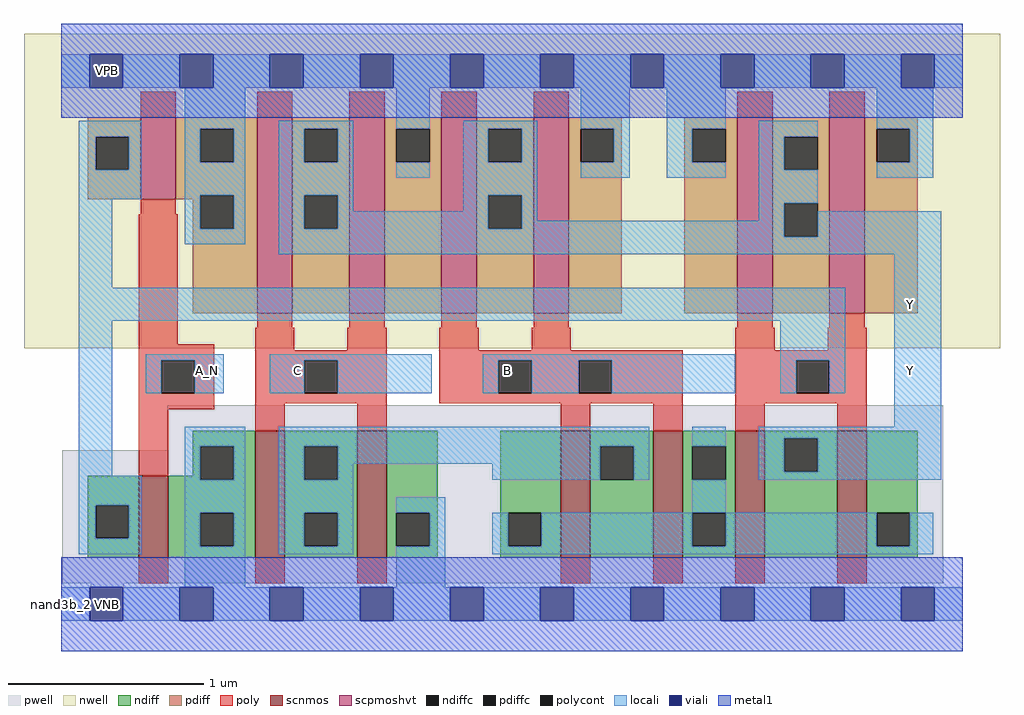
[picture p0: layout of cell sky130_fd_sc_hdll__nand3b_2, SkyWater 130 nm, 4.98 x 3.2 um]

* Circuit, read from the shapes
.subckt sky130_fd_sc_hdll__nand3b_2 A_N B C VGND VNB VPB VPWR Y
XM1 VGND A_N n1 VNB sky130_fd_pr__nfet_01v8 w=0.42 l=0.15
XM2 n2 C VGND VNB sky130_fd_pr__nfet_01v8 w=0.65 l=0.15 m=2
XM3 n2 B n3 VNB sky130_fd_pr__nfet_01v8 w=0.65 l=0.15 m=2
XM4 Y n1 n3 VNB sky130_fd_pr__nfet_01v8 w=0.65 l=0.15 m=2
XM5 VPWR A_N n1 VPB sky130_fd_pr__pfet_01v8_hvt w=0.42 l=0.18
XM6 Y C VPWR VPB sky130_fd_pr__pfet_01v8_hvt w=1 l=0.18 m=2
XM7 Y B VPWR VPB sky130_fd_pr__pfet_01v8_hvt w=1 l=0.18 m=2
XM8 Y n1 VPWR VPB sky130_fd_pr__pfet_01v8_hvt w=1 l=0.18 m=2
.ends

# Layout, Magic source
magic
tech sky130A
magscale 1 2
<< nwell >>
rect -38 261 958 582
<< pwell >>
rect 108 157 900 203
rect 1 21 900 157
rect 30 -17 64 21
<< scnmos >>
rect 79 47 109 131
rect 198 47 228 177
rect 302 47 332 177
rect 510 47 540 177
rect 604 47 634 177
rect 688 47 718 177
rect 792 47 822 177
<< scpmoshvt >>
rect 81 413 117 497
rect 200 297 236 497
rect 294 297 330 497
rect 388 297 424 497
rect 482 297 518 497
rect 690 297 726 497
rect 784 297 820 497
<< ndiff >>
rect 134 161 198 177
rect 134 131 142 161
rect 27 101 79 131
rect 27 67 35 101
rect 69 67 79 101
rect 27 47 79 67
rect 109 127 142 131
rect 176 127 198 161
rect 109 93 198 127
rect 109 59 142 93
rect 176 59 198 93
rect 109 47 198 59
rect 228 161 302 177
rect 228 127 248 161
rect 282 127 302 161
rect 228 93 302 127
rect 228 59 248 93
rect 282 59 302 93
rect 228 47 302 59
rect 332 93 384 177
rect 332 59 342 93
rect 376 59 384 93
rect 332 47 384 59
rect 448 93 510 177
rect 448 59 456 93
rect 490 59 510 93
rect 448 47 510 59
rect 540 161 604 177
rect 540 127 550 161
rect 584 127 604 161
rect 540 47 604 127
rect 634 161 688 177
rect 634 127 644 161
rect 678 127 688 161
rect 634 93 688 127
rect 634 59 644 93
rect 678 59 688 93
rect 634 47 688 59
rect 718 169 792 177
rect 718 135 738 169
rect 772 135 792 169
rect 718 47 792 135
rect 822 93 874 177
rect 822 59 832 93
rect 866 59 874 93
rect 822 47 874 59
<< pdiff >>
rect 27 477 81 497
rect 27 443 35 477
rect 69 443 81 477
rect 27 413 81 443
rect 117 485 200 497
rect 117 451 142 485
rect 176 451 200 485
rect 117 417 200 451
rect 117 413 142 417
rect 134 383 142 413
rect 176 383 200 417
rect 134 297 200 383
rect 236 485 294 497
rect 236 451 248 485
rect 282 451 294 485
rect 236 417 294 451
rect 236 383 248 417
rect 282 383 294 417
rect 236 297 294 383
rect 330 485 388 497
rect 330 451 342 485
rect 376 451 388 485
rect 330 297 388 451
rect 424 485 482 497
rect 424 451 436 485
rect 470 451 482 485
rect 424 417 482 451
rect 424 383 436 417
rect 470 383 482 417
rect 424 297 482 383
rect 518 485 572 497
rect 518 451 530 485
rect 564 451 572 485
rect 518 297 572 451
rect 636 485 690 497
rect 636 451 644 485
rect 678 451 690 485
rect 636 297 690 451
rect 726 477 784 497
rect 726 443 738 477
rect 772 443 784 477
rect 726 409 784 443
rect 726 375 738 409
rect 772 375 784 409
rect 726 297 784 375
rect 820 485 874 497
rect 820 451 832 485
rect 866 451 874 485
rect 820 297 874 451
<< ndiffc >>
rect 35 67 69 101
rect 142 127 176 161
rect 142 59 176 93
rect 248 127 282 161
rect 248 59 282 93
rect 342 59 376 93
rect 456 59 490 93
rect 550 127 584 161
rect 644 127 678 161
rect 644 59 678 93
rect 738 135 772 169
rect 832 59 866 93
<< pdiffc >>
rect 35 443 69 477
rect 142 451 176 485
rect 142 383 176 417
rect 248 451 282 485
rect 248 383 282 417
rect 342 451 376 485
rect 436 451 470 485
rect 436 383 470 417
rect 530 451 564 485
rect 644 451 678 485
rect 738 443 772 477
rect 738 375 772 409
rect 832 451 866 485
<< poly >>
rect 81 497 117 523
rect 200 497 236 523
rect 294 497 330 523
rect 388 497 424 523
rect 482 497 518 523
rect 690 497 726 523
rect 784 497 820 523
rect 81 398 117 413
rect 79 265 119 398
rect 200 282 236 297
rect 294 282 330 297
rect 388 282 424 297
rect 482 282 518 297
rect 690 282 726 297
rect 784 282 820 297
rect 79 249 156 265
rect 79 215 102 249
rect 136 215 156 249
rect 79 199 156 215
rect 198 259 238 282
rect 292 259 332 282
rect 198 249 332 259
rect 198 215 248 249
rect 282 215 332 249
rect 198 205 332 215
rect 386 259 426 282
rect 480 259 520 282
rect 688 259 728 282
rect 782 259 822 282
rect 386 249 634 259
rect 386 215 446 249
rect 480 215 528 249
rect 562 215 634 249
rect 386 205 634 215
rect 79 131 109 199
rect 198 177 228 205
rect 302 177 332 205
rect 510 177 540 205
rect 604 177 634 205
rect 688 249 822 259
rect 688 215 750 249
rect 784 215 822 249
rect 688 205 822 215
rect 688 177 718 205
rect 792 177 822 205
rect 79 21 109 47
rect 198 21 228 47
rect 302 21 332 47
rect 510 21 540 47
rect 604 21 634 47
rect 688 21 718 47
rect 792 21 822 47
<< polycont >>
rect 102 215 136 249
rect 248 215 282 249
rect 446 215 480 249
rect 528 215 562 249
rect 750 215 784 249
<< locali >>
rect 0 527 29 561
rect 63 527 121 561
rect 155 527 213 561
rect 247 527 305 561
rect 339 527 397 561
rect 431 527 489 561
rect 523 527 581 561
rect 615 527 673 561
rect 707 527 765 561
rect 799 527 857 561
rect 891 527 920 561
rect 18 477 82 493
rect 18 443 35 477
rect 69 443 82 477
rect 18 413 82 443
rect 126 485 188 527
rect 126 451 142 485
rect 176 451 188 485
rect 126 417 188 451
rect 18 323 52 413
rect 126 383 142 417
rect 176 383 188 417
rect 126 367 188 383
rect 222 485 298 493
rect 222 451 248 485
rect 282 451 298 485
rect 222 417 298 451
rect 342 485 376 527
rect 342 435 376 451
rect 410 485 486 493
rect 410 451 436 485
rect 470 451 486 485
rect 222 383 248 417
rect 282 401 298 417
rect 410 417 486 451
rect 530 485 580 527
rect 564 451 580 485
rect 530 435 580 451
rect 618 485 678 527
rect 618 451 644 485
rect 618 435 678 451
rect 712 477 772 493
rect 712 443 738 477
rect 410 401 436 417
rect 282 383 436 401
rect 470 391 486 417
rect 712 409 772 443
rect 832 485 890 527
rect 866 451 890 485
rect 832 435 890 451
rect 712 391 738 409
rect 470 383 738 391
rect 222 375 738 383
rect 772 375 898 401
rect 222 357 898 375
rect 18 289 800 323
rect 18 131 52 289
rect 86 249 166 255
rect 86 215 102 249
rect 136 215 166 249
rect 213 249 378 255
rect 213 215 248 249
rect 282 215 378 249
rect 430 249 688 255
rect 430 215 446 249
rect 480 215 528 249
rect 562 215 688 249
rect 734 249 800 289
rect 734 215 750 249
rect 784 215 800 249
rect 850 181 898 357
rect 126 161 188 181
rect 18 101 82 131
rect 18 67 35 101
rect 69 67 82 101
rect 18 51 82 67
rect 126 127 142 161
rect 176 127 188 161
rect 126 93 188 127
rect 126 59 142 93
rect 176 59 188 93
rect 126 17 188 59
rect 222 161 600 181
rect 222 127 248 161
rect 282 143 550 161
rect 282 127 298 143
rect 440 127 550 143
rect 584 127 600 161
rect 644 161 678 181
rect 712 169 898 181
rect 712 135 738 169
rect 772 135 898 169
rect 712 127 898 135
rect 222 93 298 127
rect 222 59 248 93
rect 282 59 298 93
rect 222 51 298 59
rect 342 93 392 109
rect 644 93 678 127
rect 376 59 392 93
rect 342 17 392 59
rect 440 59 456 93
rect 490 59 644 93
rect 678 59 832 93
rect 866 59 890 93
rect 440 51 890 59
rect 0 -17 29 17
rect 63 -17 121 17
rect 155 -17 213 17
rect 247 -17 305 17
rect 339 -17 397 17
rect 431 -17 489 17
rect 523 -17 581 17
rect 615 -17 673 17
rect 707 -17 765 17
rect 799 -17 857 17
rect 891 -17 920 17
<< viali >>
rect 29 527 63 561
rect 121 527 155 561
rect 213 527 247 561
rect 305 527 339 561
rect 397 527 431 561
rect 489 527 523 561
rect 581 527 615 561
rect 673 527 707 561
rect 765 527 799 561
rect 857 527 891 561
rect 29 -17 63 17
rect 121 -17 155 17
rect 213 -17 247 17
rect 305 -17 339 17
rect 397 -17 431 17
rect 489 -17 523 17
rect 581 -17 615 17
rect 673 -17 707 17
rect 765 -17 799 17
rect 857 -17 891 17
<< metal1 >>
rect 0 561 920 592
rect 0 527 29 561
rect 63 527 121 561
rect 155 527 213 561
rect 247 527 305 561
rect 339 527 397 561
rect 431 527 489 561
rect 523 527 581 561
rect 615 527 673 561
rect 707 527 765 561
rect 799 527 857 561
rect 891 527 920 561
rect 0 496 920 527
rect 0 17 920 48
rect 0 -17 29 17
rect 63 -17 121 17
rect 155 -17 213 17
rect 247 -17 305 17
rect 339 -17 397 17
rect 431 -17 489 17
rect 523 -17 581 17
rect 615 -17 673 17
rect 707 -17 765 17
rect 799 -17 857 17
rect 891 -17 920 17
rect 0 -48 920 -17
<< labels >>
flabel locali s 850 221 884 255 0 FreeSans 200 0 0 0 Y
port 8 nsew signal output
flabel locali s 224 221 258 255 0 FreeSans 200 0 0 0 C
port 3 nsew signal input
flabel locali s 132 221 166 255 0 FreeSans 200 0 0 0 A_N
port 1 nsew signal input
flabel locali s 438 221 472 255 0 FreeSans 200 0 0 0 B
port 2 nsew signal input
flabel locali s 850 289 884 323 0 FreeSans 200 0 0 0 Y
port 8 nsew signal output
flabel locali s 454 238 454 238 0 FreeSans 200 0 0 0 B
port 2 nsew
flabel pwell s 30 -17 64 17 0 FreeSans 200 0 0 0 VNB
port 5 nsew ground bidirectional
flabel nwell s 30 527 64 561 0 FreeSans 200 0 0 0 VPB
port 6 nsew power bidirectional
flabel metal1 s 30 -17 64 17 0 FreeSans 200 0 0 0 VGND
port 4 nsew ground bidirectional
flabel metal1 s 30 527 64 561 0 FreeSans 200 0 0 0 VPWR
port 7 nsew power bidirectional
rlabel comment s 0 0 0 0 4 nand3b_2
<< properties >>
string LEFsite unithd
string LEFclass CORE
string FIXED_BBOX 0 0 920 544
string GDS_FILE $PDKPATH/libs.ref/sky130_fd_sc_hdll/gds/sky130_fd_sc_hdll.gds
string LEFsymmetry X Y R90
string GDS_END 2236236
string GDS_START 2228904
string LEFproperties maskLayoutSubType "abstract" prCellType "standard" originalViewName "layout"
<< end >>
